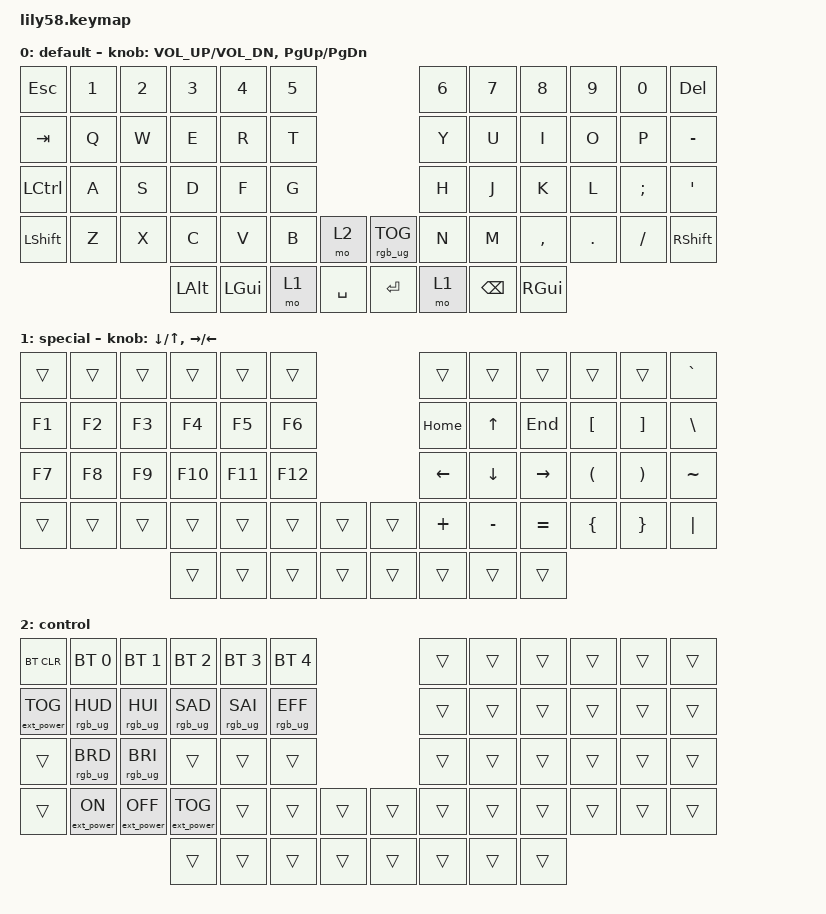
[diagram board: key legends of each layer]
/*
 * Copyright (c) 2020 The ZMK Contributors
 *
 * SPDX-License-Identifier: MIT
 */

#include <behaviors.dtsi>
#include <dt-bindings/zmk/bt.h>
#include <dt-bindings/zmk/ext_power.h>
#include <dt-bindings/zmk/keys.h>
#include <dt-bindings/zmk/rgb.h>

/ {
    // Activate ADJUST layer by pressing raise and lower

    conditional_layers {
        compatible = "zmk,conditional-layers";

        adjust_layer {
            if-layers = <1 2>;
            then-layer = <3>;
        };
    };

    keymap {
        compatible = "zmk,keymap";

        default {
            bindings = <
&kp ESC    &kp N1  &kp N2  &kp N3    &kp N4    &kp N5                                &kp N6  &kp N7    &kp N8     &kp N9   &kp N0    &kp DELETE
&kp TAB    &kp Q   &kp W   &kp E     &kp R     &kp T                                 &kp Y   &kp U     &kp I      &kp O    &kp P     &kp MINUS
&kp LCTRL  &kp A   &kp S   &kp D     &kp F     &kp G                                 &kp H   &kp J     &kp K      &kp L    &kp SEMI  &kp SQT
&kp LSHFT  &kp Z   &kp X   &kp C     &kp V     &kp B   &mo 2        &rgb_ug RGB_TOG  &kp N   &kp M     &kp COMMA  &kp DOT  &kp FSLH  &kp RSHFT
                           &kp LALT  &kp LGUI  &mo 1   &kp SPACE    &kp RET          &mo 1   &kp BSPC  &kp RGUI
            >;

            sensor-bindings = <&inc_dec_kp C_VOL_UP C_VOL_DN &inc_dec_kp PG_UP PG_DN>;
        };

        special {
            bindings = <
&trans  &trans  &trans  &trans   &trans   &trans                     &trans    &trans     &trans     &trans            &trans             &kp GRAVE
&kp F1  &kp F2  &kp F3  &kp F4   &kp F5   &kp F6                     &kp HOME  &kp UP     &kp END    &kp LEFT_BRACKET  &kp RIGHT_BRACKET  &kp BACKSLASH
&kp F7  &kp F8  &kp F9  &kp F10  &kp F11  &kp F12                    &kp LEFT  &kp DOWN   &kp RIGHT  &kp LPAR          &kp RPAR           &kp TILDE
&trans  &trans  &trans  &trans   &trans   &trans   &trans    &trans  &kp PLUS  &kp MINUS  &kp EQUAL  &kp LBRC          &kp RBRC           &kp PIPE
                        &trans   &trans   &trans   &trans    &trans  &trans    &trans     &trans
            >;

            sensor-bindings = <&inc_dec_kp DOWN UP &inc_dec_kp RIGHT LEFT>;
        };

        control {
            bindings = <
&bt BT_CLR         &bt BT_SEL 0      &bt BT_SEL 1       &bt BT_SEL 2       &bt BT_SEL 3     &bt BT_SEL 4                       &trans  &trans  &trans  &trans  &trans  &trans
&ext_power EP_TOG  &rgb_ug RGB_HUD   &rgb_ug RGB_HUI    &rgb_ug RGB_SAD    &rgb_ug RGB_SAI  &rgb_ug RGB_EFF                    &trans  &trans  &trans  &trans  &trans  &trans
&trans             &rgb_ug RGB_BRD   &rgb_ug RGB_BRI    &trans             &trans           &trans                             &trans  &trans  &trans  &trans  &trans  &trans
&trans             &ext_power EP_ON  &ext_power EP_OFF  &ext_power EP_TOG  &trans           &trans           &trans    &trans  &trans  &trans  &trans  &trans  &trans  &trans
                                                        &trans             &trans           &trans           &trans    &trans  &trans  &trans  &trans
            >;
        };
    };
};
